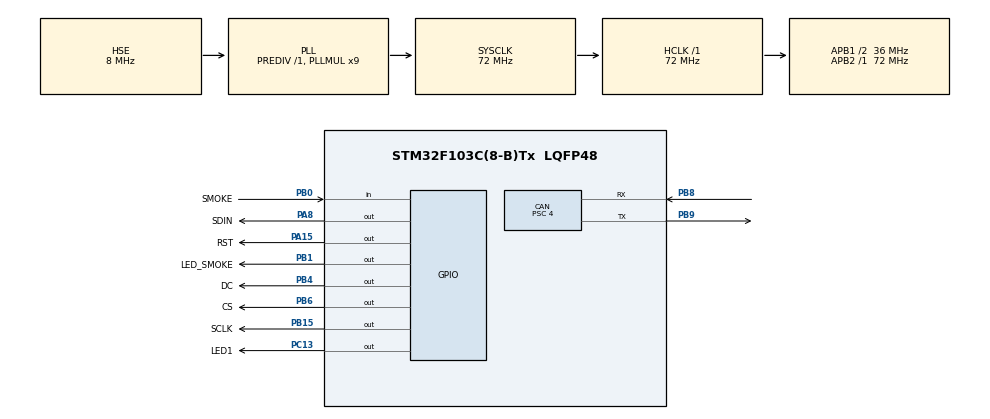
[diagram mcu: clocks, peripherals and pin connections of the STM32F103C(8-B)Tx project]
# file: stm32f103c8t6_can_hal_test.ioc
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CAN.BS1=CAN_BS1_9TQ
CAN.BS2=CAN_BS2_8TQ
CAN.CalculateBaudRate=500000
CAN.CalculateTimeBit=2000
CAN.CalculateTimeQuantum=111.11111111111111
CAN.Prescaler=4
Mcu.Family=STM32F1
Mcu.Name=STM32F103C(8-B)Tx
Mcu.Package=LQFP48
NVIC.CAN1_RX1_IRQn=true\:0\:0\:false\:false\:true\:true\:true\:true
NVIC.PriorityGroup=NVIC_PRIORITYGROUP_4
NVIC.USB_LP_CAN1_RX0_IRQn=true\:0\:0\:false\:false\:true\:true\:true\:true
PA0-WKUP.Mode=SYS_WakeUp0
PA0-WKUP.Signal=SYS_WKUP
PA13.Mode=Serial_Wire
PA13.Signal=SYS_JTMS-SWDIO
PA14.Mode=Serial_Wire
PA14.Signal=SYS_JTCK-SWCLK
PA15.GPIO_Label=RST
PA15.Signal=GPIO_Output
PA8.GPIO_Label=SDIN
PA8.Signal=GPIO_Output
PB0.GPIO_Label=SMOKE
PB0.Signal=GPIO_Input
PB1.GPIO_Label=LED_SMOKE
PB1.Signal=GPIO_Output
PB15.GPIO_Label=SCLK
PB15.Signal=GPIO_Output
PB4.GPIO_Label=DC
PB4.Signal=GPIO_Output
PB6.GPIO_Label=CS
PB6.Signal=GPIO_Output
PB8.Mode=CAN_Activate
PB8.Signal=CAN_RX
PB9.Mode=CAN_Activate
PB9.Signal=CAN_TX
PC13-TAMPER-RTC.GPIO_Label=LED1
PC13-TAMPER-RTC.Signal=GPIO_Output
PD0-OSC_IN.Mode=HSE-External-Oscillator
PD0-OSC_IN.Signal=RCC_OSC_IN
PD1-OSC_OUT.Mode=HSE-External-Oscillator
PD1-OSC_OUT.Signal=RCC_OSC_OUT
ProjectManager.HeapSize=0x200
ProjectManager.StackSize=0x400
ProjectManager.TargetToolchain=CMake
RCC.AHBFreq_Value=72000000
RCC.APB1CLKDivider=RCC_HCLK_DIV2
RCC.APB1Freq_Value=36000000
RCC.APB1TimFreq_Value=72000000
RCC.APB2Freq_Value=72000000
RCC.APB2TimFreq_Value=72000000
RCC.HCLKFreq_Value=72000000
RCC.PLLMUL=RCC_PLL_MUL9
RCC.PLLSourceVirtual=RCC_PLLSOURCE_HSE
RCC.SYSCLKFreq_VALUE=72000000
RCC.SYSCLKSource=RCC_SYSCLKSOURCE_PLLCLK
RCC.USBFreq_Value=72000000
board=custom

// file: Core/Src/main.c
/* USER CODE BEGIN Header */
/**
 ******************************************************************************
 * @file           : main.c
 * @brief          : Main program body
 ******************************************************************************
 * @attention
 *
 * Copyright (c) 2024 STMicroelectronics.
 * All rights reserved.
 *
 * This software is licensed under terms that can be found in the LICENSE file
 * in the root directory of this software component.
 * If no LICENSE file comes with this software, it is provided AS-IS.
 *
 ******************************************************************************
 */
/* USER CODE END Header */
#include "main.h"
#include "can.h"
#include "gpio.h"

/* USER CODE BEGIN Includes */
#include "oled.h"
/* USER CODE END Includes */

void SystemClock_Config(void);

/* USER CODE BEGIN 0 */
#define IS_SENT 0
#define Trigger_Inter_time 20
/* USER CODE END 0 */

int main(void)
{

  /* MCU Configuration--------------------------------------------------------*/

  /* Reset of all peripherals, Initializes the Flash interface and the Systick. */
  HAL_Init();

  /* Configure the system clock */
  SystemClock_Config();

  /* Initialize all configured peripherals */
  MX_GPIO_Init();
  MX_CAN_Init();
  /* USER CODE BEGIN 2 */
  // LED init is 128*64 pixel
  OLED_Init();
  OLED_Clear();

  // CAN init
  CANFilterConfig_AnyId();
  HAL_CAN_Start(&hcan);

  __HAL_CAN_ENABLE_IT(&hcan, CAN_IT_RX_FIFO0_MSG_PENDING);
  __HAL_CAN_ENABLE_IT(&hcan, CAN_IT_RX_FIFO1_MSG_PENDING);

  // CAN data config
  CAN_TxHeaderTypeDef TxHeader;
  uint32_t TxMailbox;
  uint8_t TxData[8] = {0};
  TxHeader.DLC = 8;
  TxHeader.StdId = 0x123;
  TxHeader.IDE = CAN_ID_STD;
  TxHeader.RTR = CAN_RTR_DATA;
  TxHeader.TransmitGlobalTime = DISABLE;

   int trigger_flag = 0;
  /* USER CODE END 2 */

  /* Infinite loop */
  while (1)
  {

    /* USER CODE BEGIN 3 */
    // let the LED1 blink every 1 second
    HAL_GPIO_TogglePin(LED1_GPIO_Port, LED1_Pin);

    HAL_Delay(1000);

    // OLED display
    OLED_Clear();
    OLED_ShowString(0, 0, (uint8_t *)"decrypt");
    // char hexString[3];
    // // Display each byte of TxData in hexadecimal format
    // for (int i = 0; i < 8; i++)
    // {
    //   sprintf(hexString, "%02X", RxData[i]);                  // Convert byte to hexadecimal string
    //   OLED_ShowString(0 + (i * 16), 3, (uint8_t *)hexString); // Display the string on the OLED
    // }
    if (trigger_flag < Trigger_Inter_time / 2)
    {
      trigger_flag++;
      OLED_ShowString(0, 3, (uint8_t *)"0100000000000000");
      OLED_ShowString(0, 6, (uint8_t *)"D68CF0BE9E0CB7B5");
    }
    else if ((Trigger_Inter_time / 2 <= trigger_flag) && (trigger_flag < Trigger_Inter_time -1))
    {
      /* code */
      trigger_flag++;
      OLED_ShowString(0, 3, (uint8_t *)"0000000000000000");
      OLED_ShowString(0, 6, (uint8_t *)"1ABE0B980CB1B53D");
    }
    else
    {
      trigger_flag = 0;
      OLED_ShowString(0, 3, (uint8_t *)"0000000000000000");
      OLED_ShowString(0, 6, (uint8_t *)"1ABE0B980CB1B53D");
    }

    // send a CAN message
    // the data is recive by the interput on RxHeader ,RxData[8];
    // when we recive the data, we want to send the data back to the sender
    // by check the recive_flag flag to back transmit the data
    // here is for receive board to handle
    if (recive_flag)
    {
      recive_flag = 0;
      // OLED_ShowString(0, 6, (uint8_t *)"01111122");
      // receive data, no thing to do, just display the data by the OLED.
      // if (HAL_CAN_AddTxMessage(&hcan, &TxHeader, RxData, &TxMailbox) != HAL_OK)
      // {
      //   Error_Handler();
      // }
    }

    // one second send a data
    // if (HAL_CAN_AddTxMessage(&hcan, &TxHeader, TxData, &TxMailbox) != HAL_OK)
    // {
    //   Error_Handler();
    // }

    // check the pin state for the smoke sensor
    // if (HAL_GPIO_ReadPin(SMOKE_GPIO_Port, SMOKE_Pin) == GPIO_PIN_RESET)
    // {
    //   // Add a delay for debouncing
    //   HAL_Delay(50); // 50 milliseconds delay

    //   // Check the pin state again after the delay
    //   if (HAL_GPIO_ReadPin(SMOKE_GPIO_Port, SMOKE_Pin) == GPIO_PIN_RESET)
    //   {
    //     HAL_GPIO_WritePin(LED_SMOKE_GPIO_Port, LED_SMOKE_Pin, GPIO_PIN_SET);
    //     TxData[0] = 0;
    //   }
    //   else
    //   {
    //     HAL_GPIO_WritePin(LED_SMOKE_GPIO_Port, LED_SMOKE_Pin, GPIO_PIN_RESET);
    //     TxData[0] = 1;
    //   }
    // }
    // else
    // {
    //   HAL_GPIO_WritePin(LED_SMOKE_GPIO_Port, LED_SMOKE_Pin, GPIO_PIN_RESET);
    //   TxData[0] = 1;
    // }
  }
  /* USER CODE END 3 */
}

void SystemClock_Config(void)
{
  RCC_OscInitTypeDef RCC_OscInitStruct = {0};
  RCC_ClkInitTypeDef RCC_ClkInitStruct = {0};

  /** Initializes the RCC Oscillators according to the specified parameters
   * in the RCC_OscInitTypeDef structure.
   */
  RCC_OscInitStruct.OscillatorType = RCC_OSCILLATORTYPE_HSE;
  RCC_OscInitStruct.HSEState = RCC_HSE_ON;
  RCC_OscInitStruct.HSEPredivValue = RCC_HSE_PREDIV_DIV1;
  RCC_OscInitStruct.HSIState = RCC_HSI_ON;
  RCC_OscInitStruct.PLL.PLLState = RCC_PLL_ON;
  RCC_OscInitStruct.PLL.PLLSource = RCC_PLLSOURCE_HSE;
  RCC_OscInitStruct.PLL.PLLMUL = RCC_PLL_MUL9;
  if (HAL_RCC_OscConfig(&RCC_OscInitStruct) != HAL_OK)
  {
    Error_Handler();
  }

  /** Initializes the CPU, AHB and APB buses clocks
   */
  RCC_ClkInitStruct.ClockType = RCC_CLOCKTYPE_HCLK | RCC_CLOCKTYPE_SYSCLK | RCC_CLOCKTYPE_PCLK1 | RCC_CLOCKTYPE_PCLK2;
  RCC_ClkInitStruct.SYSCLKSource = RCC_SYSCLKSOURCE_PLLCLK;
  RCC_ClkInitStruct.AHBCLKDivider = RCC_SYSCLK_DIV1;
  RCC_ClkInitStruct.APB1CLKDivider = RCC_HCLK_DIV2;
  RCC_ClkInitStruct.APB2CLKDivider = RCC_HCLK_DIV1;

  if (HAL_RCC_ClockConfig(&RCC_ClkInitStruct, FLASH_LATENCY_2) != HAL_OK)
  {
    Error_Handler();
  }
}

void Error_Handler(void)
{
  __disable_irq();
  while (1)
  {
  }
}
